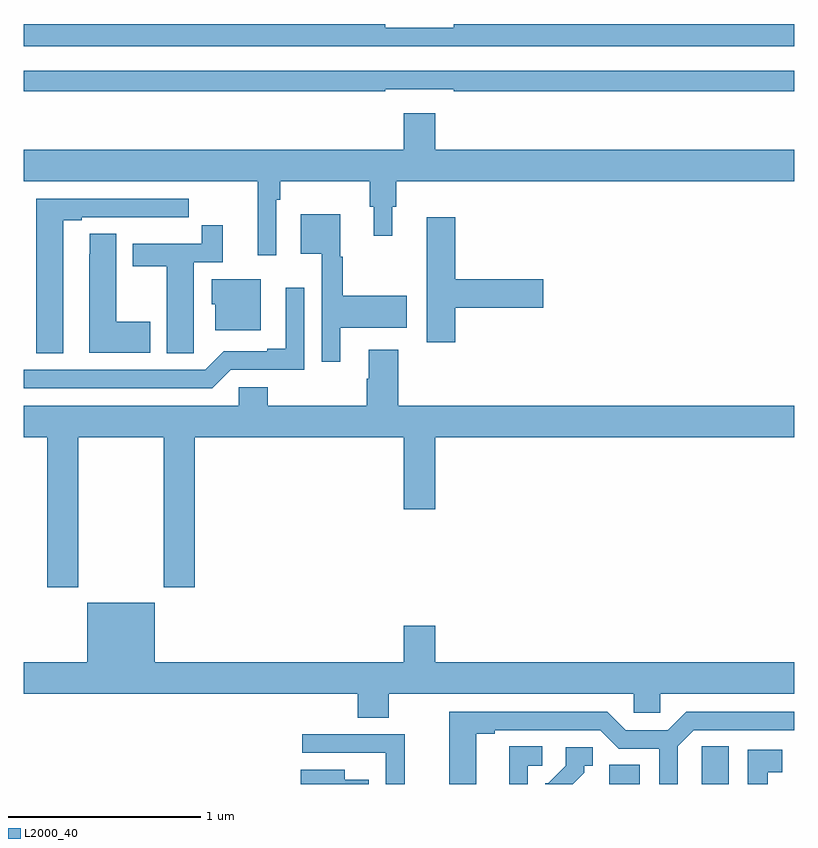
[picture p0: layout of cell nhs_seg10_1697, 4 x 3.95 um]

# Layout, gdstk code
import gdstk
lib = gdstk.Library(unit=1e-6, precision=1e-09)
def R(c, l, rs):  # rectangles x0, y0, x1, y1
    for r in rs: c.add(gdstk.rectangle(r[:2], r[2:], *l))
def P(c, l, *ps):  # polygons
    for p in ps: c.add(gdstk.Polygon(p, *l))
L2000_40 = (2000, 40)

nhs_seg10_1697 = lib.new_cell('nhs_seg10_1697')
R(nhs_seg10_1697, L2000_40, [(202.04,1314.5,202.198,1314.599)])
P(nhs_seg10_1697, L2000_40, [(203,1318.448),(201.232,1318.448),(201.232,1318.429),(200.876,1318.429),(200.876,1318.448),(199,1318.448),(199,1318.332),(203,1318.332)],
  [(200.876,1318.11),(201.232,1318.11),(201.232,1318.098),(203,1318.098),(203,1318.206),(199,1318.206),(199,1318.098),(200.876,1318.098)],
  [(200.31,1317.536),(200.33,1317.536),(200.33,1317.632),(200.797,1317.632),(200.797,1317.498),(200.816,1317.498),(200.816,1317.348),(200.914,1317.348),(200.914,1317.498),(200.933,1317.498),(200.933,1317.632),(203,1317.632),(203,1317.796),(201.136,1317.796),(201.136,1317.985),(200.972,1317.985),(200.972,1317.796),(199,1317.796),(199,1317.632),(200.213,1317.632),(200.213,1317.246),(200.31,1317.246)],
  [(199.204,1317.429),(199.3,1317.429),(199.3,1317.444),(199.576,1317.444),(199.576,1317.443),(199.742,1317.443),(199.742,1317.444),(199.855,1317.444),(199.855,1317.54),(199.064,1317.54),(199.064,1316.737),(199.204,1316.737)],
  [(200.644,1316.87),(200.989,1316.87),(200.989,1317.036),(200.656,1317.036),(200.656,1317.24),(200.644,1317.24),(200.644,1317.46),(200.438,1317.46),(200.438,1317.254),(200.547,1317.254),(200.547,1316.694),(200.644,1316.694)],
  [(201.239,1316.975),(201.697,1316.975),(201.697,1317.122),(201.239,1317.122),(201.239,1317.445),(201.092,1317.445),(201.092,1316.796),(201.239,1316.796)],
  [(199.881,1316.848),(199.882,1316.848),(199.882,1317.21),(200.033,1317.21),(200.033,1317.403),(199.924,1317.403),(199.924,1317.306),(199.565,1317.306),(199.565,1317.19),(199.742,1317.19),(199.742,1316.737),(199.881,1316.737)],
  [(199.657,1316.901),(199.48,1316.901),(199.48,1317.359),(199.341,1317.359),(199.341,1317.251),(199.34,1317.251),(199.34,1316.741),(199.657,1316.741)],
  [(200.23,1317.121),(199.976,1317.121),(199.976,1316.991),(199.994,1316.991),(199.994,1316.858),(200.23,1316.858)],
  [(200.073,1316.652),(200.457,1316.652),(200.457,1317.079),(200.36,1317.079),(200.36,1316.761),(200.264,1316.761),(200.264,1316.748),(200.037,1316.748),(199.941,1316.652),(199,1316.652),(199,1316.556),(199.977,1316.556)],
  [(199.281,1316.3),(199.726,1316.3),(199.726,1315.521),(199.886,1315.521),(199.886,1316.3),(200.972,1316.3),(200.972,1315.926),(201.136,1315.926),(201.136,1316.3),(203,1316.3),(203,1316.464),(200.945,1316.464),(200.945,1316.755),(200.792,1316.755),(200.792,1316.606),(200.78,1316.606),(200.78,1316.464),(200.267,1316.464),(200.267,1316.562),(200.115,1316.562),(200.115,1316.464),(199,1316.464),(199,1316.3),(199.121,1316.3),(199.121,1315.521),(199.281,1315.521)],
  [(201.136,1315.321),(200.972,1315.321),(200.972,1315.132),(199.678,1315.132),(199.678,1315.441),(199.328,1315.441),(199.328,1315.132),(199,1315.132),(199,1314.968),(200.735,1314.968),(200.735,1314.844),(200.895,1314.844),(200.895,1314.968),(202.167,1314.968),(202.167,1314.87),(202.305,1314.87),(202.305,1314.968),(203,1314.968),(203,1315.132),(201.136,1315.132)],
  [(201.349,1314.76),(201.445,1314.76),(201.445,1314.78),(201.993,1314.78),(202.089,1314.684),(202.299,1314.684),(202.299,1314.5),(202.395,1314.5),(202.395,1314.696),(202.479,1314.78),(203,1314.78),(203,1314.876),(202.439,1314.876),(202.343,1314.78),(202.125,1314.78),(202.029,1314.876),(201.209,1314.876),(201.209,1314.5),(201.349,1314.5)],
  [(200.979,1314.759),(200.445,1314.759),(200.445,1314.663),(200.879,1314.663),(200.879,1314.662),(200.88,1314.662),(200.88,1314.5),(200.979,1314.5)],
  [(202.66,1314.695),(202.521,1314.695),(202.521,1314.587),(202.52,1314.587),(202.52,1314.5),(202.66,1314.5)],
  [(201.618,1314.594),(201.691,1314.594),(201.691,1314.695),(201.521,1314.695),(201.521,1314.5),(201.618,1314.5)],
  [(201.91,1314.559),(201.91,1314.594),(201.955,1314.594),(201.955,1314.69),(201.813,1314.69),(201.813,1314.594),(201.723,1314.504),(201.708,1314.504),(201.708,1314.5),(201.851,1314.5)],
  [(202.864,1314.562),(202.939,1314.562),(202.939,1314.678),(202.76,1314.678),(202.76,1314.5),(202.864,1314.5)],
  [(200.791,1314.523),(200.665,1314.523),(200.665,1314.574),(200.438,1314.574),(200.438,1314.5),(200.791,1314.5)])

lib.write_gds('nhs_seg10_1697.gds')
